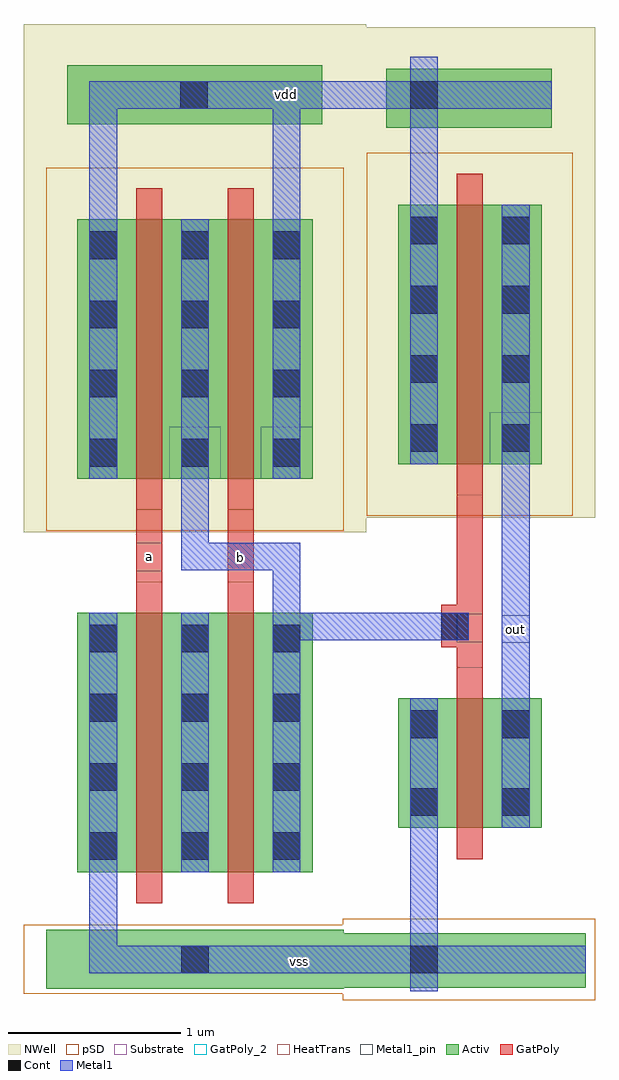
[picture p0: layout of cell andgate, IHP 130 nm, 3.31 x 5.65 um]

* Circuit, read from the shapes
.subckt andgate a b out vdd vss
XM1 n1 a vss vss sg13_lv_nmos w=1.5u l=0.15u
XM2 inverter_0/in b n1 vss sg13_lv_nmos w=1.5u l=0.15u
XM3 out inverter_0/in vss vss sg13_lv_nmos w=0.75u l=0.15u
XM4 inverter_0/in a vdd vdd sg13_lv_pmos w=1.5u l=0.15u
XM5 vdd b inverter_0/in vdd sg13_lv_pmos w=1.5u l=0.15u
XM6 out inverter_0/in vdd vdd sg13_lv_pmos w=1.5u l=0.15u
.ends

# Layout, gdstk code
import gdstk
lib = gdstk.Library(unit=1e-6, precision=5e-09)
def R(c, l, rs):  # rectangles x0, y0, x1, y1
    for r in rs: c.add(gdstk.rectangle(r[:2], r[2:], *l))
def A(c, l, x, y, w, h, nx, ny, dx, dy):  # array of equal rectangles
    R(c, l, [(x+i*dx, y+j*dy, x+i*dx+w, y+j*dy+h) for i in range(nx) for j in range(ny)])
Activ = (1, 0)
GatPoly = (5, 0)
GatPoly_2 = (5, 2)
Cont = (6, 0)
Metal1 = (8, 0)
Metal1_pin = (8, 2)
pSD = (14, 0)
NWell = (31, 0)
Substrate = (40, 0)
HeatTrans = (51, 0)

nmos = lib.new_cell('nmos')
R(nmos, Activ, [(0,0,0.3,0.3), (0,0,0.83,0.75), (0.53,0,0.83,0.3)])
R(nmos, GatPoly, [(0.34,-0.18,0.49,0.93)])
R(nmos, GatPoly_2, [(0.34,-0.18,0.49,0.93)])
R(nmos, Cont, [(0.07,0.07,0.23,0.23), (0.6,0.07,0.76,0.23), (0.07,0.52,0.23,0.68), (0.6,0.52,0.76,0.68)])
R(nmos, Metal1, [(0.07,0,0.23,0.75), (0.6,0,0.76,0.75)])
R(nmos, Metal1_pin, [(0.07,0,0.23,0.75), (0.6,0,0.76,0.75)])
R(nmos, HeatTrans, [(0.34,-0.18,0.49,0.93)])
nmos.add(gdstk.Label('nmos', (0.415,0.375), layer=63, texttype=0))
nmos.add(gdstk.Label('nmos', (0.415,0.375), layer=51, texttype=0))

pmos_1 = lib.new_cell('pmos$1')
R(pmos_1, Activ, [(0,0,0.3,0.3), (0,0,0.83,1.5), (0.53,0,0.83,0.3)])
R(pmos_1, GatPoly, [(0.34,-0.18,0.49,1.68), (0.34,-0.18,0.49,1.68)])
A(pmos_1, Cont, 0.07, 0.07, 0.16, 0.16, 1, 4, 0, 0.4)
A(pmos_1, Cont, 0.6, 0.07, 0.16, 0.16, 1, 4, 0, 0.4)
R(pmos_1, Metal1, [(0.07,0,0.23,1.5), (0.07,0,0.23,1.5), (0.6,0,0.76,1.5), (0.6,0,0.76,1.5)])
R(pmos_1, pSD, [(-0.18,-0.3,1.01,1.8)])
R(pmos_1, NWell, [(-0.31,-0.31,1.14,1.81)])
R(pmos_1, Substrate, [(0.53,0,0.83,0.3)])
R(pmos_1, HeatTrans, [(0.34,-0.18,0.49,1.68)])
pmos_1.add(gdstk.Label('pmos', (0.415,0.75), layer=63, texttype=0))
pmos_1.add(gdstk.Label('pmos', (0.415,0.75), layer=51, texttype=0))

inverter = lib.new_cell('inverter')
R(inverter, Activ, [(1.335,-1.99,2.635,-1.675), (1.48,2.985,2.44,3.325)])
R(inverter, GatPoly, [(1.89,-0.135,2.04,1.34)])
R(inverter, GatPoly_2, [(1.89,0.01,2.04,0.175)])
R(inverter, Cont, [(1.62,-1.905,1.78,-1.745), (1.62,2.31,1.78,2.47), (1.62,3.095,1.78,3.255)])
R(inverter, Metal1, [(1.62,-2.01,1.78,-1.065), (2.15,-0.315,2.31,1.27), (1.62,2.15,1.78,3.395)])
R(inverter, Metal1_pin, [(1.62,-1.905,1.78,-1.745), (2.15,0.005,2.31,0.165), (1.62,3.095,1.78,3.255)])
R(inverter, pSD, [(1.23,-2.06,2.69,-1.59)])
R(inverter, NWell, [(1.24,2.85,2.69,3.565)])
inverter.add(gdstk.Reference(nmos, (1.55,-1.065)))
inverter.add(gdstk.Reference(pmos_1, (1.55,1.04)))
inverter.add(gdstk.Label('vdd', (1.685,3.17), layer=8, texttype=2))
inverter.add(gdstk.Label('out', (2.23,0.085), layer=8, texttype=2))
inverter.add(gdstk.Label('vss', (1.69,-1.84), layer=8, texttype=2))
inverter.add(gdstk.Label('in', (1.94,0.095), layer=5, texttype=2))

nmos_1_1 = lib.new_cell('nmos$1$1')
R(nmos_1_1, Activ, [(0,0,0.3,0.3), (0,0,0.83,1.5), (0.53,0,0.83,0.3)])
R(nmos_1_1, GatPoly, [(0.34,-0.18,0.49,1.68)])
R(nmos_1_1, GatPoly_2, [(0.34,-0.18,0.49,1.68)])
A(nmos_1_1, Cont, 0.07, 0.07, 0.16, 0.16, 1, 4, 0, 0.4)
A(nmos_1_1, Cont, 0.6, 0.07, 0.16, 0.16, 1, 4, 0, 0.4)
R(nmos_1_1, Metal1, [(0.07,0,0.23,1.5), (0.6,0,0.76,1.5)])
R(nmos_1_1, Metal1_pin, [(0.07,0,0.23,1.5), (0.6,0,0.76,1.5)])
R(nmos_1_1, HeatTrans, [(0.34,-0.18,0.49,1.68)])
nmos_1_1.add(gdstk.Label('nmos', (0.415,0.75), layer=63, texttype=0))
nmos_1_1.add(gdstk.Label('nmos', (0.415,0.75), layer=51, texttype=0))

pmos_2 = lib.new_cell('pmos$2')
R(pmos_2, Activ, [(0,0,0.3,0.3), (0,0,0.83,1.5), (0.53,0,0.83,0.3)])
R(pmos_2, GatPoly, [(0.34,-0.18,0.49,1.68), (0.34,-0.18,0.49,1.68)])
A(pmos_2, Cont, 0.07, 0.07, 0.16, 0.16, 1, 4, 0, 0.4)
A(pmos_2, Cont, 0.6, 0.07, 0.16, 0.16, 1, 4, 0, 0.4)
R(pmos_2, Metal1, [(0.07,0,0.23,1.5), (0.07,0,0.23,1.5), (0.6,0,0.76,1.5), (0.6,0,0.76,1.5)])
R(pmos_2, pSD, [(-0.18,-0.3,1.01,1.8)])
R(pmos_2, NWell, [(-0.31,-0.31,1.14,1.81)])
R(pmos_2, Substrate, [(0.53,0,0.83,0.3)])
R(pmos_2, HeatTrans, [(0.34,-0.18,0.49,1.68)])
pmos_2.add(gdstk.Label('pmos', (0.415,0.75), layer=63, texttype=0))
pmos_2.add(gdstk.Label('pmos', (0.415,0.75), layer=51, texttype=0))

nand = lib.new_cell('nand')
R(nand, Activ, [(-2.805,-1.84,-1.085,-1.5), (-2.685,3.16,-1.21,3.5)])
R(nand, GatPoly, [(-2.285,-0.62,-2.135,1.58), (-1.755,-0.62,-1.605,1.585)])
R(nand, GatPoly_2, [(-1.755,0.46,-1.605,0.625), (-2.285,0.575,-2.135,0.74)])
R(nand, Cont, [(-2.025,-1.75,-1.865,-1.59), (-2.025,-1.75,-1.865,-1.59), (-2.03,3.25,-1.87,3.41)])
R(nand, Metal1, [(-1.495,-0.13,-1.335,0.74), (-2.555,1.98,-2.395,3.41), (-1.495,1.98,-1.335,3.41), (-2.555,3.25,-1.335,3.41)])
R(nand, Metal1_pin, [(-1.495,-0.295,-1.335,-0.135), (-2.03,3.25,-1.87,3.41)])
R(nand, pSD, [(-2.935,-1.87,-0.955,-1.47)])
R(nand, NWell, [(-2.935,2.92,-0.955,3.74)])
nand.add(gdstk.FlexPath([(-2.475,-1.015),(-2.475,-1.67),(-1.335,-1.67),(-1.255,-1.67)], 0.16, ends="flush", simple_path=True, layer=8, datatype=0))  # Metal1
nand.add(gdstk.FlexPath([(-1.945,1.74),(-1.945,0.66),(-1.335,0.66)], 0.16, ends="flush", simple_path=True, layer=8, datatype=0))  # Metal1
nand.add(gdstk.Reference(nmos_1_1, (-2.625,-1.165)))
nand.add(gdstk.Reference(nmos_1_1, (-2.095,-1.165)))
nand.add(gdstk.Reference(pmos_2, (-2.625,1.11)))
nand.add(gdstk.Reference(pmos_2, (-2.095,1.11)))
nand.add(gdstk.Label('vss', (-1.955,-1.685), layer=8, texttype=2))
nand.add(gdstk.Label('vdd', (-1.965,3.325), layer=8, texttype=2))
nand.add(gdstk.Label('out', (-1.415,-0.22), layer=8, texttype=2))
nand.add(gdstk.Label('b', (-1.705,0.545), layer=5, texttype=2))
nand.add(gdstk.Label('a', (-2.235,0.66), layer=5, texttype=2))

andgate = lib.new_cell('andgate')
R(andgate, Activ, [(-1.145,-1.835,-0.985,-1.52)])
R(andgate, GatPoly, [(-0.52,0.135,-0.28,0.38)])
R(andgate, GatPoly_2, [(-1.755,0.575,-1.605,0.735), (-2.285,0.58,-2.135,0.74)])
R(andgate, Cont, [(-0.52,0.175,-0.36,0.335)])
R(andgate, Metal1, [(-1.415,-1.75,-1.255,-1.59), (0.155,-1.75,0.315,-1.59), (-1.495,3.25,-1.335,3.41)])
R(andgate, Metal1_pin, [(-0.17,0.16,-0.01,0.32)])
andgate.add(gdstk.FlexPath([(-0.36,0.255),(-1.42,0.255)], 0.16, ends="flush", simple_path=True, layer=8, datatype=0))  # Metal1
andgate.add(gdstk.FlexPath([(-1.415,3.33),(0.12,3.33),(0.12,3.33)], 0.16, ends="flush", simple_path=True, layer=8, datatype=0))  # Metal1
andgate.add(gdstk.FlexPath([(-1.575,-1.67),(0.235,-1.67),(0.235,-1.66)], 0.16, ends="flush", simple_path=True, layer=8, datatype=0))  # Metal1
andgate.add(gdstk.Reference(inverter, (-2.32,0.155)))
andgate.add(gdstk.Reference(nand, (0,0)))
andgate.add(gdstk.Label('vdd', (-1.415,3.33), layer=8, texttype=0))
andgate.add(gdstk.Label('vss', (-1.34,-1.685), layer=8, texttype=0))
andgate.add(gdstk.Label('out', (-0.09,0.24), layer=8, texttype=2))
andgate.add(gdstk.Label('a', (-2.21,0.66), layer=5, texttype=2))
andgate.add(gdstk.Label('b', (-1.68,0.655), layer=5, texttype=2))

lib.write_gds('andgate.gds')
